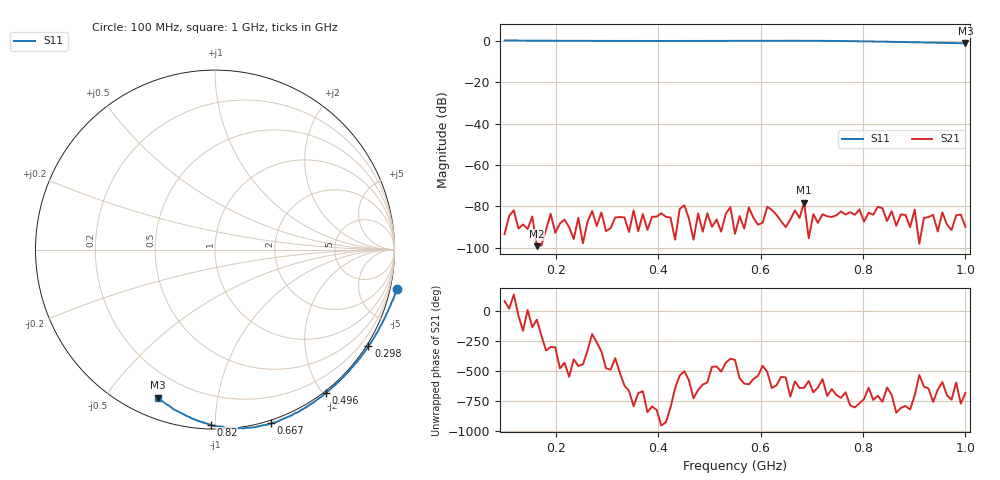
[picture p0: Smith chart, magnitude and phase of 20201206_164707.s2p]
# HZ S RI R 50
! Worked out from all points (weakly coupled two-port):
!   101 points, 100 MHz to 1 GHz, reference 50 ohm
!   highest |S21| = -78.18 dB at 685 MHz (marker M1); lowest = -99.3 dB at 163 MHz (marker M2)
!   lowest |S11| = -1.1 dB at 1 GHz (marker M3), VSWR 16.41, Z = 4.47 - j34.1 ohm
!   |S11| at or under -10 dB: nowhere
!   S12 and S22 are empty: the file has one direction only
!   S11 on the Smith chart (normalised r, x): 100 MHz: -1.51, -9.09; 298 MHz: -0.06, -3.47; 496 MHz: -0.02, -2.03; 667 MHz: -0.03, -1.37; 820 MHz: 0.02, -0.98; 1 GHz: 0.09, -0.68
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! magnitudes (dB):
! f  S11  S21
! 100 MHz  0.3  -93.5
! 163 MHz  0.2  -99.3
! 253 MHz  0.1  -97.9
! 298 MHz  0.1  -92.0
! 406 MHz  0.1  -83.4
! 442 MHz  0.1  -81.3
! 451 MHz  0.1  -79.5
! 460 MHz  0.1  -85.9
! 496 MHz  0.1  -83.4
! 550 MHz  0.1  -93.3
! 613 MHz  0.2  -80.2
! 667 MHz  0.2  -82.0
! 676 MHz  0.2  -85.6
! 685 MHz  0.1  -78.2
! 694 MHz  0.1  -95.5
! 703 MHz  0.1  -83.8
! 712 MHz  0.1  -88.0
! 775 MHz  0.0  -82.9
! 793 MHz  -0.1  -81.5
! 820 MHz  -0.2  -84.1
! 856 MHz  -0.4  -82.4
! 1 GHz  -1.1  -90.0
